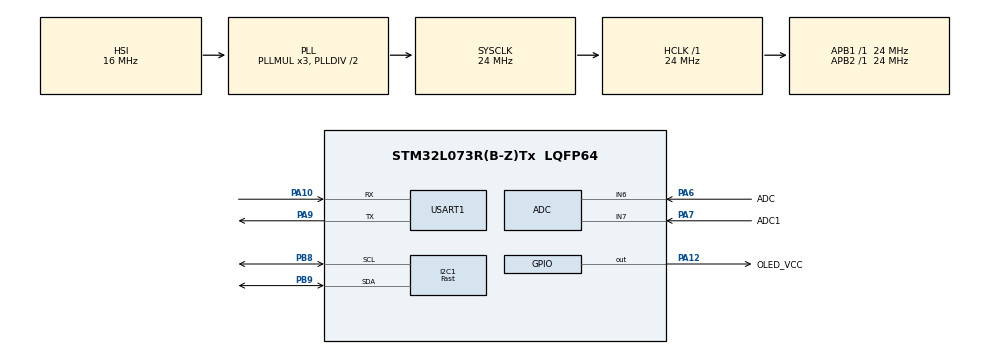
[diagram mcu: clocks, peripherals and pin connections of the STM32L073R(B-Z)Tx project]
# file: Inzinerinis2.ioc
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ADC.DMAContinuousRequests=DISABLE
ADC.SamplingTime=ADC_SAMPLETIME_160CYCLES_5
Dma.ADC.0.Direction=DMA_PERIPH_TO_MEMORY
Dma.ADC.0.Instance=DMA1_Channel1
Dma.ADC.0.MemDataAlignment=DMA_MDATAALIGN_HALFWORD
Dma.ADC.0.MemInc=DMA_MINC_ENABLE
Dma.ADC.0.Mode=DMA_NORMAL
Dma.ADC.0.PeriphDataAlignment=DMA_PDATAALIGN_HALFWORD
Dma.ADC.0.PeriphInc=DMA_PINC_DISABLE
Dma.ADC.0.Priority=DMA_PRIORITY_LOW
Dma.Request0=ADC
I2C1.I2C_Speed_Mode=I2C_Fast
I2C1.Timing=0x0040131C
Mcu.Family=STM32L0
Mcu.Name=STM32L073R(B-Z)Tx
Mcu.Package=LQFP64
NVIC.DMA1_Channel1_IRQn=true\:0\:0\:false\:false\:true\:false\:true\:true
NVIC.PVD_IRQn=true\:0\:0\:false\:false\:true\:true\:true\:true
NVIC.TIM3_IRQn=true\:0\:0\:false\:false\:true\:true\:true\:true
NVIC.TIM6_DAC_IRQn=true\:0\:0\:false\:false\:true\:true\:true\:true
NVIC.TIM7_IRQn=true\:0\:0\:false\:false\:true\:true\:true\:true
NVIC.USART1_IRQn=true\:0\:0\:false\:false\:true\:true\:true\:true
PA10.Mode=Asynchronous
PA10.Signal=USART1_RX
PA12.GPIO_Label=OLED_VCC
PA12.Signal=GPIO_Output
PA13.GPIO_Label=TMS
PA13.Mode=Serial_Wire
PA13.Signal=SYS_SWDIO
PA14.GPIO_Label=TCK
PA14.Mode=Serial_Wire
PA14.Signal=SYS_SWCLK
PA6.GPIO_Label=ADC
PA6.Mode=IN6
PA6.Signal=ADC_IN6
PA7.GPIO_Label=ADC1
PA7.Mode=IN7
PA7.Signal=ADC_IN7
PA9.Mode=Asynchronous
PA9.Signal=USART1_TX
PB8.Mode=I2C
PB8.Signal=I2C1_SCL
PB9.Mode=I2C
PB9.Signal=I2C1_SDA
PC14-OSC32_IN.Mode=LSE-External-Oscillator
PC14-OSC32_IN.Signal=RCC_OSC32_IN
PC15-OSC32_OUT.Mode=LSE-External-Oscillator
PC15-OSC32_OUT.Signal=RCC_OSC32_OUT
ProjectManager.HeapSize=0x200
ProjectManager.StackSize=0x400
ProjectManager.TargetToolchain=MDK-ARM V5
RCC.AHBFreq_Value=24000000
RCC.APB1Freq_Value=24000000
RCC.APB1TimFreq_Value=24000000
RCC.APB2Freq_Value=24000000
RCC.APB2TimFreq_Value=24000000
RCC.HCLKFreq_Value=24000000
RCC.HSE_VALUE=8000000
RCC.HSI16_VALUE=16000000
RCC.HSI48_VALUE=48000000
RCC.HSI_VALUE=16000000
RCC.MSI_VALUE=2097000
RCC.SYSCLKFreq_VALUE=24000000
RCC.SYSCLKSource=RCC_SYSCLKSOURCE_PLLCLK
RCC.VCOOutputFreq_Value=48000000
TIM3.Period=500
TIM3.Prescaler=24000
TIM6.Period=1000
TIM6.Prescaler=24000
TIM7.AutoReloadPreload=TIM_AUTORELOAD_PRELOAD_ENABLE
TIM7.Period=500
TIM7.Prescaler=24000
USART1.VirtualMode-Asynchronous=VM_ASYNC
VP_TIM3_VS_ClockSourceINT.Mode=Internal
VP_TIM6_VS_ClockSourceINT.Mode=Enable_Timer
VP_TIM7_VS_ClockSourceINT.Mode=Enable_Timer
board=NUCLEO-L073RZ

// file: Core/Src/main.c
/* USER CODE BEGIN Header */
/**
  ******************************************************************************
  * @file           : main.c
  * @brief          : Main program body
  ******************************************************************************
  */
/* USER CODE END Header */
#include "main.h"

/* USER CODE BEGIN Includes */
#include "math.h"
#include "ssd1306.h"
#include "fonts.h"
#include <stdio.h>
#include <string.h>
#include <stdlib.h>

/* USER CODE END Includes */

/* USER CODE BEGIN PD */
#define BUFFERLEN 5
#define NUM_ADC_CHANNELS 2
#define ADC_CONVERTED_DATA_BUFFER_SIZE NUM_ADC_CHANNELS
#define RX_BUFFER_SIZE 64

/* USER CODE END PD */

ADC_HandleTypeDef hadc;
DMA_HandleTypeDef hdma_adc;

I2C_HandleTypeDef hi2c1;

TIM_HandleTypeDef htim3;
TIM_HandleTypeDef htim6;
TIM_HandleTypeDef htim7;

UART_HandleTypeDef huart1;

/* USER CODE BEGIN PV */
float rref1 = 950;
float rref2 = 8.5;
uint8_t rx_index = 0;
uint8_t uart_rx_buffer[8];

uint8_t sample = 0;
int counter=0;
uint16_t DataBufferADC[BUFFERLEN][NUM_ADC_CHANNELS];
uint32_t SumSensorsADC[NUM_ADC_CHANNELS];
float AverageSensorsADC[NUM_ADC_CHANNELS];
float NTC_Resistance[NUM_ADC_CHANNELS];
static uint16_t aADCxConvertedData[ADC_CONVERTED_DATA_BUFFER_SIZE];
//extern UART_HandleTypeDef huart1;
/* USER CODE END PV */

void SystemClock_Config(void);
static void MX_GPIO_Init(void);
static void MX_DMA_Init(void);
static void MX_TIM7_Init(void);
static void MX_I2C1_Init(void);
static void MX_ADC_Init(void);
static void MX_TIM6_Init(void);
static void MX_USART1_UART_Init(void);
static void MX_TIM3_Init(void);

/* USER CODE BEGIN 0 */
void MyErrorHandlerADC(void) {
    while (1);
}

void startConvADC(void) {
    if (HAL_ADC_Start_DMA(&hadc, (uint32_t *)aADCxConvertedData, NUM_ADC_CHANNELS) != HAL_OK) {
        MyErrorHandlerADC();
    }
}
void sendAverageDataUART(void) {
    char uart_buffer[100];
int len = snprintf(uart_buffer, sizeof(uart_buffer), "R1=%.1f Ohm, R2=%.1f Ohm\r\n", NTC_Resistance[0], NTC_Resistance[1]);
    if (len > 0 && len < sizeof(uart_buffer)) {
        HAL_UART_Transmit(&huart1, (uint8_t*)uart_buffer, len, HAL_MAX_DELAY);

    }
}

void displayInfo() {
#ifndef DISABLE_DISPLAY
    char string_display[30];

    ssd1306_SetCursor(0, 0);
	  if (NTC_Resistance[0]<12000)
    sprintf(string_display, "R1=%.1f   ", NTC_Resistance[0]);
		else
		sprintf(string_display, "R1= -     ");
    ssd1306_WriteString(string_display, Font_11x18, White);
	  ssd1306_SetCursor(111, 0);
    sprintf(string_display, "!");
    ssd1306_WriteString(string_display, Font_11x18, White);
    ssd1306_SetCursor(0, 22);
		if (NTC_Resistance[1]<12000)
    sprintf(string_display, "R2=%.1f  ", NTC_Resistance[1]);
				else
		sprintf(string_display, "R2= -    ");
    ssd1306_WriteString(string_display, Font_11x18, White);
		ssd1306_SetCursor(111, 22);
    sprintf(string_display, "!");
    ssd1306_WriteString(string_display, Font_11x18, White);
	  ssd1306_SetCursor(0, 44);
		sprintf(string_display, "%.1f  %.1f",rref1,rref2);
    ssd1306_WriteString(string_display, Font_11x18, White);
    ssd1306_UpdateScreen(&hi2c1);
		//counter++;
#endif
}
void HAL_TIM_PeriodElapsedCallback(TIM_HandleTypeDef *htim) {
    if (htim == &htim3) {
        startConvADC();
    }
		//if (htim == &htim7) {
        //displayInfo();
			//counter++;
		//}
		if (htim == &htim6) {
        sendAverageDataUART();
    }
}
void HAL_ADC_ConvCpltCallback(ADC_HandleTypeDef *hadc) {
    for (int i = 0; i < NUM_ADC_CHANNELS; i++) {
        // Subtract old sample from sum
        SumSensorsADC[i] -= DataBufferADC[sample][i];

        // Store new sample
        DataBufferADC[sample][i] = aADCxConvertedData[i];

        // Add new sample to sum
        SumSensorsADC[i] += DataBufferADC[sample][i];

        // Update average
        AverageSensorsADC[i] = (float)SumSensorsADC[i] / BUFFERLEN;

        // Calculate resistance
        if (i == 0)
            NTC_Resistance[i] = (-rref1 * AverageSensorsADC[i]) / (AverageSensorsADC[i] - 4095);
        else if (i == 1)
            NTC_Resistance[i] = (-rref2 * AverageSensorsADC[i]) / (AverageSensorsADC[i] - 4095);

        if (NTC_Resistance[i] > 12000)
            NTC_Resistance[i] = 12000;
    }

    // Advance circular index
    sample++;
    if (sample >= BUFFERLEN)
        sample = 0;

    // Display after each update
    displayInfo();
}

void HAL_UART_RxCpltCallback(UART_HandleTypeDef *huart)
{

    if (huart->Instance == USART1)
    {
        // Copy 4 bytes into rref1
        memcpy(&rref1, &uart_rx_buffer[0], 4);

        // Copy next 4 bytes into rref2
        memcpy(&rref2, &uart_rx_buffer[4], 4);

        // Restart reception
        HAL_UART_Receive_IT(&huart1, uart_rx_buffer, 8);
    }
}

/* USER CODE END 0 */

int main(void)
{

  /* MCU Configuration--------------------------------------------------------*/

  /* Reset of all peripherals, Initializes the Flash interface and the Systick. */
  HAL_Init();

  /* Configure the system clock */
  SystemClock_Config();

  /* Initialize all configured peripherals */
  MX_GPIO_Init();
  MX_DMA_Init();
  MX_TIM7_Init();
  MX_I2C1_Init();
  MX_ADC_Init();
  MX_TIM6_Init();
  MX_USART1_UART_Init();
  MX_TIM3_Init();
  /* USER CODE BEGIN 2 */
	ssd1306_Init(&hi2c1);
  HAL_TIM_Base_Start_IT(&htim7);
	HAL_TIM_Base_Start_IT(&htim6);
	HAL_TIM_Base_Start_IT(&htim3);
	HAL_UART_Receive_IT(&huart1, uart_rx_buffer, 8);

  /* USER CODE END 2 */

  /* Infinite loop */
  while (1)
  {

  }
}

void SystemClock_Config(void)
{
  RCC_OscInitTypeDef RCC_OscInitStruct = {0};
  RCC_ClkInitTypeDef RCC_ClkInitStruct = {0};
  RCC_PeriphCLKInitTypeDef PeriphClkInit = {0};

  /** Configure the main internal regulator output voltage
  */
  __HAL_PWR_VOLTAGESCALING_CONFIG(PWR_REGULATOR_VOLTAGE_SCALE1);

  /** Initializes the RCC Oscillators according to the specified parameters
  * in the RCC_OscInitTypeDef structure.
  */
  RCC_OscInitStruct.OscillatorType = RCC_OSCILLATORTYPE_HSI;
  RCC_OscInitStruct.HSIState = RCC_HSI_ON;
  RCC_OscInitStruct.HSICalibrationValue = RCC_HSICALIBRATION_DEFAULT;
  RCC_OscInitStruct.PLL.PLLState = RCC_PLL_ON;
  RCC_OscInitStruct.PLL.PLLSource = RCC_PLLSOURCE_HSI;
  RCC_OscInitStruct.PLL.PLLMUL = RCC_PLLMUL_3;
  RCC_OscInitStruct.PLL.PLLDIV = RCC_PLLDIV_2;
  if (HAL_RCC_OscConfig(&RCC_OscInitStruct) != HAL_OK)
  {
    Error_Handler();
  }

  /** Initializes the CPU, AHB and APB buses clocks
  */
  RCC_ClkInitStruct.ClockType = RCC_CLOCKTYPE_HCLK|RCC_CLOCKTYPE_SYSCLK
                              |RCC_CLOCKTYPE_PCLK1|RCC_CLOCKTYPE_PCLK2;
  RCC_ClkInitStruct.SYSCLKSource = RCC_SYSCLKSOURCE_PLLCLK;
  RCC_ClkInitStruct.AHBCLKDivider = RCC_SYSCLK_DIV1;
  RCC_ClkInitStruct.APB1CLKDivider = RCC_HCLK_DIV1;
  RCC_ClkInitStruct.APB2CLKDivider = RCC_HCLK_DIV1;

  if (HAL_RCC_ClockConfig(&RCC_ClkInitStruct, FLASH_LATENCY_1) != HAL_OK)
  {
    Error_Handler();
  }
  PeriphClkInit.PeriphClockSelection = RCC_PERIPHCLK_USART1|RCC_PERIPHCLK_I2C1;
  PeriphClkInit.Usart1ClockSelection = RCC_USART1CLKSOURCE_PCLK2;
  PeriphClkInit.I2c1ClockSelection = RCC_I2C1CLKSOURCE_PCLK1;
  if (HAL_RCCEx_PeriphCLKConfig(&PeriphClkInit) != HAL_OK)
  {
    Error_Handler();
  }
}

static void MX_ADC_Init(void)
{

  ADC_ChannelConfTypeDef sConfig = {0};

  /** Configure the global features of the ADC (Clock, Resolution, Data Alignment and number of conversion)
  */
  hadc.Instance = ADC1;
  hadc.Init.OversamplingMode = DISABLE;
  hadc.Init.ClockPrescaler = ADC_CLOCK_SYNC_PCLK_DIV2;
  hadc.Init.Resolution = ADC_RESOLUTION_12B;
  hadc.Init.SamplingTime = ADC_SAMPLETIME_160CYCLES_5;
  hadc.Init.ScanConvMode = ADC_SCAN_DIRECTION_FORWARD;
  hadc.Init.DataAlign = ADC_DATAALIGN_RIGHT;
  hadc.Init.ContinuousConvMode = DISABLE;
  hadc.Init.DiscontinuousConvMode = DISABLE;
  hadc.Init.ExternalTrigConvEdge = ADC_EXTERNALTRIGCONVEDGE_NONE;
  hadc.Init.ExternalTrigConv = ADC_SOFTWARE_START;
  hadc.Init.DMAContinuousRequests = DISABLE;
  hadc.Init.EOCSelection = ADC_EOC_SINGLE_CONV;
  hadc.Init.Overrun = ADC_OVR_DATA_PRESERVED;
  hadc.Init.LowPowerAutoWait = DISABLE;
  hadc.Init.LowPowerFrequencyMode = DISABLE;
  hadc.Init.LowPowerAutoPowerOff = DISABLE;
  if (HAL_ADC_Init(&hadc) != HAL_OK)
  {
    Error_Handler();
  }

  /** Configure for the selected ADC regular channel to be converted.
  */
  sConfig.Channel = ADC_CHANNEL_6;
  sConfig.Rank = ADC_RANK_CHANNEL_NUMBER;
  if (HAL_ADC_ConfigChannel(&hadc, &sConfig) != HAL_OK)
  {
    Error_Handler();
  }

  /** Configure for the selected ADC regular channel to be converted.
  */
  sConfig.Channel = ADC_CHANNEL_7;
  if (HAL_ADC_ConfigChannel(&hadc, &sConfig) != HAL_OK)
  {
    Error_Handler();
  }

}

static void MX_I2C1_Init(void)
{

  hi2c1.Instance = I2C1;
  hi2c1.Init.Timing = 0x0040131C;
  hi2c1.Init.OwnAddress1 = 0;
  hi2c1.Init.AddressingMode = I2C_ADDRESSINGMODE_7BIT;
  hi2c1.Init.DualAddressMode = I2C_DUALADDRESS_DISABLE;
  hi2c1.Init.OwnAddress2 = 0;
  hi2c1.Init.OwnAddress2Masks = I2C_OA2_NOMASK;
  hi2c1.Init.GeneralCallMode = I2C_GENERALCALL_DISABLE;
  hi2c1.Init.NoStretchMode = I2C_NOSTRETCH_DISABLE;
  if (HAL_I2C_Init(&hi2c1) != HAL_OK)
  {
    Error_Handler();
  }

  /** Configure Analogue filter
  */
  if (HAL_I2CEx_ConfigAnalogFilter(&hi2c1, I2C_ANALOGFILTER_ENABLE) != HAL_OK)
  {
    Error_Handler();
  }

  /** Configure Digital filter
  */
  if (HAL_I2CEx_ConfigDigitalFilter(&hi2c1, 0) != HAL_OK)
  {
    Error_Handler();
  }

}

static void MX_TIM3_Init(void)
{

  TIM_ClockConfigTypeDef sClockSourceConfig = {0};
  TIM_MasterConfigTypeDef sMasterConfig = {0};

  htim3.Instance = TIM3;
  htim3.Init.Prescaler = 24000;
  htim3.Init.CounterMode = TIM_COUNTERMODE_UP;
  htim3.Init.Period = 500;
  htim3.Init.ClockDivision = TIM_CLOCKDIVISION_DIV1;
  htim3.Init.AutoReloadPreload = TIM_AUTORELOAD_PRELOAD_DISABLE;
  if (HAL_TIM_Base_Init(&htim3) != HAL_OK)
  {
    Error_Handler();
  }
  sClockSourceConfig.ClockSource = TIM_CLOCKSOURCE_INTERNAL;
  if (HAL_TIM_ConfigClockSource(&htim3, &sClockSourceConfig) != HAL_OK)
  {
    Error_Handler();
  }
  sMasterConfig.MasterOutputTrigger = TIM_TRGO_RESET;
  sMasterConfig.MasterSlaveMode = TIM_MASTERSLAVEMODE_DISABLE;
  if (HAL_TIMEx_MasterConfigSynchronization(&htim3, &sMasterConfig) != HAL_OK)
  {
    Error_Handler();
  }

}

static void MX_TIM6_Init(void)
{

  TIM_MasterConfigTypeDef sMasterConfig = {0};

  htim6.Instance = TIM6;
  htim6.Init.Prescaler = 24000;
  htim6.Init.CounterMode = TIM_COUNTERMODE_UP;
  htim6.Init.Period = 1000;
  htim6.Init.AutoReloadPreload = TIM_AUTORELOAD_PRELOAD_DISABLE;
  if (HAL_TIM_Base_Init(&htim6) != HAL_OK)
  {
    Error_Handler();
  }
  sMasterConfig.MasterOutputTrigger = TIM_TRGO_RESET;
  sMasterConfig.MasterSlaveMode = TIM_MASTERSLAVEMODE_DISABLE;
  if (HAL_TIMEx_MasterConfigSynchronization(&htim6, &sMasterConfig) != HAL_OK)
  {
    Error_Handler();
  }

}

static void MX_TIM7_Init(void)
{

  TIM_MasterConfigTypeDef sMasterConfig = {0};

  htim7.Instance = TIM7;
  htim7.Init.Prescaler = 24000;
  htim7.Init.CounterMode = TIM_COUNTERMODE_UP;
  htim7.Init.Period = 100;
  htim7.Init.AutoReloadPreload = TIM_AUTORELOAD_PRELOAD_ENABLE;
  if (HAL_TIM_Base_Init(&htim7) != HAL_OK)
  {
    Error_Handler();
  }
  sMasterConfig.MasterOutputTrigger = TIM_TRGO_RESET;
  sMasterConfig.MasterSlaveMode = TIM_MASTERSLAVEMODE_DISABLE;
  if (HAL_TIMEx_MasterConfigSynchronization(&htim7, &sMasterConfig) != HAL_OK)
  {
    Error_Handler();
  }

}

static void MX_USART1_UART_Init(void)
{

  huart1.Instance = USART1;
  huart1.Init.BaudRate = 115200;
  huart1.Init.WordLength = UART_WORDLENGTH_8B;
  huart1.Init.StopBits = UART_STOPBITS_1;
  huart1.Init.Parity = UART_PARITY_NONE;
  huart1.Init.Mode = UART_MODE_TX_RX;
  huart1.Init.HwFlowCtl = UART_HWCONTROL_NONE;
  huart1.Init.OverSampling = UART_OVERSAMPLING_16;
  huart1.Init.OneBitSampling = UART_ONE_BIT_SAMPLE_DISABLE;
  huart1.AdvancedInit.AdvFeatureInit = UART_ADVFEATURE_NO_INIT;
  if (HAL_UART_Init(&huart1) != HAL_OK)
  {
    Error_Handler();
  }

}

static void MX_DMA_Init(void)
{

  /* DMA controller clock enable */
  __HAL_RCC_DMA1_CLK_ENABLE();

  /* DMA interrupt init */
  /* DMA1_Channel1_IRQn interrupt configuration */
  HAL_NVIC_SetPriority(DMA1_Channel1_IRQn, 0, 0);
  HAL_NVIC_EnableIRQ(DMA1_Channel1_IRQn);

}

static void MX_GPIO_Init(void)
{
  GPIO_InitTypeDef GPIO_InitStruct = {0};

  /* GPIO Ports Clock Enable */
  __HAL_RCC_GPIOC_CLK_ENABLE();
  __HAL_RCC_GPIOA_CLK_ENABLE();
  __HAL_RCC_GPIOB_CLK_ENABLE();

  /*Configure GPIO pin Output Level */
  HAL_GPIO_WritePin(OLED_VCC_GPIO_Port, OLED_VCC_Pin, GPIO_PIN_RESET);

  /*Configure GPIO pin : OLED_VCC_Pin */
  GPIO_InitStruct.Pin = OLED_VCC_Pin;
  GPIO_InitStruct.Mode = GPIO_MODE_OUTPUT_PP;
  GPIO_InitStruct.Pull = GPIO_NOPULL;
  GPIO_InitStruct.Speed = GPIO_SPEED_FREQ_LOW;
  HAL_GPIO_Init(OLED_VCC_GPIO_Port, &GPIO_InitStruct);

}

void Error_Handler(void)
{
  __disable_irq();
  while (1)
  {
  }
}
